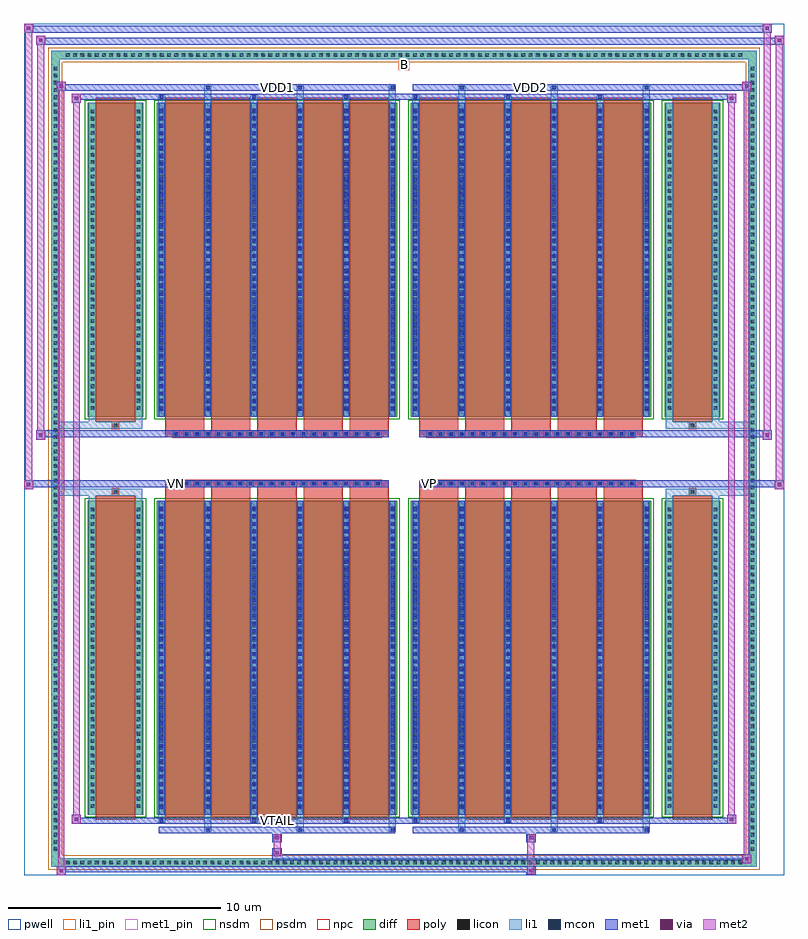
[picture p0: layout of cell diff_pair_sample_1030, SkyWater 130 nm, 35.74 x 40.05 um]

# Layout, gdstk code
import gdstk
lib = gdstk.Library(unit=1e-6, precision=5e-09)
def R(c, l, rs):  # rectangles x0, y0, x1, y1
    for r in rs: c.add(gdstk.rectangle(r[:2], r[2:], *l))
def A(c, l, x, y, w, h, nx, ny, dx, dy):  # array of equal rectangles
    R(c, l, [(x+i*dx, y+j*dy, x+i*dx+w, y+j*dy+h) for i in range(nx) for j in range(ny)])
def P(c, l, *ps):  # polygons
    for p in ps: c.add(gdstk.Polygon(p, *l))
pwell = (64, 44)
diff = (65, 20)
poly = (66, 20)
licon = (66, 44)
li1_pin = (67, 16)
li1 = (67, 20)
mcon = (67, 44)
met1_pin = (68, 16)
met1 = (68, 20)
via = (68, 44)
met2 = (69, 20)
nsdm = (93, 44)
psdm = (94, 20)
npc = (95, 20)

diff_pair_sample_1030 = lib.new_cell('diff_pair_sample_1030')
R(diff_pair_sample_1030, pwell, [(-17.87,-19.59,17.87,20.46), (-15.19,-17.78,-0.01,-0.8), (0.01,-17.78,15.19,-0.8), (-15.19,0.8,-0.01,17.78), (0.01,0.8,15.19,17.78)])
A(diff_pair_sample_1030, diff, -16.015, -19.19, 0.41, 0.41, 94, 2, 0.34, 37.97)
A(diff_pair_sample_1030, diff, -16.6, -18.565, 0.41, 0.41, 1, 109, 0, 0.34)
A(diff_pair_sample_1030, diff, 16.19, -18.565, 0.41, 0.41, 1, 109, 0, 0.34)
R(diff_pair_sample_1030, diff, [(-16.015,-19.19,16.015,-18.78), (-16.6,-18.565,-16.19,18.565), (16.19,-18.565,16.6,18.565), (-14.88,-16.735,-12.26,-1.985), (-11.62,-16.735,-0.32,-1.985), (0.32,-16.735,11.62,-1.985), (12.26,-16.735,14.88,-1.985), (-14.88,1.985,-12.26,16.735), (-11.62,1.985,-0.32,16.735), (0.32,1.985,11.62,16.735), (12.26,1.985,14.88,16.735), (-16.015,18.78,16.015,19.19)])
P(diff_pair_sample_1030, diff, [(16.6,19.19),(-16.6,19.19),(-16.6,-18.78),(-16.19,-18.78),(-16.19,18.78),(16.19,18.78),(16.19,-18.78),(-16.19,-18.78),(-16.6,-18.78),(-16.6,-19.19),(16.6,-19.19)])
A(diff_pair_sample_1030, poly, -11.23, -16.985, 1.84, 15.25, 5, 2, 2.17, 18.72)
A(diff_pair_sample_1030, poly, 0.71, -16.985, 1.84, 15.25, 5, 2, 2.17, 18.72)
A(diff_pair_sample_1030, poly, -11.23, -1.735, 1.84, 0.405, 5, 2, 2.17, 3.065)
A(diff_pair_sample_1030, poly, 0.71, -1.735, 1.84, 0.405, 5, 2, 2.17, 3.065)
A(diff_pair_sample_1030, poly, -10.885, -1.33, 0.33, 0.33, 20, 2, 0.5, 2.33)
A(diff_pair_sample_1030, poly, 1.055, -1.33, 0.33, 0.33, 20, 2, 0.5, 2.33)
R(diff_pair_sample_1030, poly, [(-14.49,-16.985,-12.65,-1.735), (12.65,-16.985,14.49,-1.735), (-13.735,-1.735,-13.405,-1.405), (-13.735,-1.735,-13.405,-1.405), (13.405,-1.735,13.735,-1.405), (13.405,-1.735,13.735,-1.405), (-11.23,-1.33,-0.71,-1), (0.71,-1.33,11.23,-1), (-11.23,1,-0.71,1.33), (0.71,1,11.23,1.33), (-13.735,1.405,-13.405,1.735), (-13.735,1.405,-13.405,1.735), (13.405,1.405,13.735,1.735), (13.405,1.405,13.735,1.735), (-14.49,1.735,-12.65,16.985), (12.65,1.735,14.49,16.985)])
A(diff_pair_sample_1030, licon, -15.895, -19.07, 0.17, 0.17, 94, 2, 0.34, 37.97)
A(diff_pair_sample_1030, licon, -16.48, -18.445, 0.17, 0.17, 1, 109, 0, 0.34)
A(diff_pair_sample_1030, licon, 16.31, -18.445, 0.17, 0.17, 1, 109, 0, 0.34)
A(diff_pair_sample_1030, licon, -14.74, -16.415, 0.17, 0.17, 1, 42, 0, 0.34)
A(diff_pair_sample_1030, licon, -12.57, -16.415, 0.17, 0.17, 1, 42, 0, 0.34)
A(diff_pair_sample_1030, licon, -11.48, -16.415, 0.17, 0.17, 6, 42, 2.17, 0.34)
A(diff_pair_sample_1030, licon, 0.46, -16.415, 0.17, 0.17, 6, 42, 2.17, 0.34)
A(diff_pair_sample_1030, licon, 12.4, -16.415, 0.17, 0.17, 1, 42, 0, 0.34)
A(diff_pair_sample_1030, licon, 14.57, -16.415, 0.17, 0.17, 1, 42, 0, 0.34)
A(diff_pair_sample_1030, licon, -10.805, -1.25, 0.17, 0.17, 20, 2, 0.5, 2.33)
A(diff_pair_sample_1030, licon, 1.135, -1.25, 0.17, 0.17, 20, 2, 0.5, 2.33)
A(diff_pair_sample_1030, licon, -14.74, 2.305, 0.17, 0.17, 1, 42, 0, 0.34)
A(diff_pair_sample_1030, licon, -12.57, 2.305, 0.17, 0.17, 1, 42, 0, 0.34)
A(diff_pair_sample_1030, licon, -11.48, 2.305, 0.17, 0.17, 6, 42, 2.17, 0.34)
A(diff_pair_sample_1030, licon, 0.46, 2.305, 0.17, 0.17, 6, 42, 2.17, 0.34)
A(diff_pair_sample_1030, licon, 12.4, 2.305, 0.17, 0.17, 1, 42, 0, 0.34)
A(diff_pair_sample_1030, licon, 14.57, 2.305, 0.17, 0.17, 1, 42, 0, 0.34)
R(diff_pair_sample_1030, licon, [(-13.655,-1.655,-13.485,-1.485), (13.485,-1.655,13.655,-1.485), (-13.655,1.485,-13.485,1.655), (13.485,1.485,13.655,1.655)])
R(diff_pair_sample_1030, li1_pin, [(-0.25,18.28,0.25,18.78)])
A(diff_pair_sample_1030, li1, -15.975, -19.15, 0.33, 0.33, 94, 2, 0.34, 37.97)
A(diff_pair_sample_1030, li1, -16.56, -18.525, 0.33, 0.33, 1, 109, 0, 0.34)
A(diff_pair_sample_1030, li1, 16.23, -18.525, 0.33, 0.33, 1, 109, 0, 0.34)
A(diff_pair_sample_1030, li1, -9.39, -17.54, 0.33, 0.805, 3, 2, 4.34, 34.275)
A(diff_pair_sample_1030, li1, -9.31, -17.54, 0.17, 0.17, 3, 2, 4.34, 34.91)
A(diff_pair_sample_1030, li1, 2.55, -17.54, 0.33, 0.805, 3, 2, 4.34, 34.275)
A(diff_pair_sample_1030, li1, 2.63, -17.54, 0.17, 0.17, 3, 2, 4.34, 34.91)
A(diff_pair_sample_1030, li1, -11.56, -17.11, 0.33, 0.375, 3, 2, 4.34, 33.845)
A(diff_pair_sample_1030, li1, -11.48, -17.11, 0.17, 0.17, 3, 2, 4.34, 34.05)
A(diff_pair_sample_1030, li1, 0.38, -17.11, 0.33, 0.375, 3, 2, 4.34, 33.845)
A(diff_pair_sample_1030, li1, 0.46, -17.11, 0.17, 0.17, 3, 2, 4.34, 34.05)
A(diff_pair_sample_1030, li1, -11.56, -16.735, 0.33, 14.75, 6, 2, 2.17, 18.72)
A(diff_pair_sample_1030, li1, 0.38, -16.735, 0.33, 14.75, 6, 2, 2.17, 18.72)
A(diff_pair_sample_1030, li1, -14.82, -16.495, 0.33, 0.33, 1, 42, 0, 0.34)
A(diff_pair_sample_1030, li1, -12.65, -16.495, 0.33, 0.33, 1, 42, 0, 0.34)
A(diff_pair_sample_1030, li1, -11.56, -16.495, 0.33, 0.33, 6, 42, 2.17, 0.34)
A(diff_pair_sample_1030, li1, 0.38, -16.495, 0.33, 0.33, 6, 42, 2.17, 0.34)
A(diff_pair_sample_1030, li1, 12.32, -16.495, 0.33, 0.33, 1, 42, 0, 0.34)
A(diff_pair_sample_1030, li1, 14.49, -16.495, 0.33, 0.33, 1, 42, 0, 0.34)
A(diff_pair_sample_1030, li1, -11.48, -16.465, 0.17, 0.17, 6, 40, 2.17, 0.36)
A(diff_pair_sample_1030, li1, -11.48, -16.465, 0.17, 14.21, 6, 2, 2.17, 18.72)
A(diff_pair_sample_1030, li1, 0.46, -16.465, 0.17, 0.17, 6, 40, 2.17, 0.36)
A(diff_pair_sample_1030, li1, 0.46, -16.465, 0.17, 14.21, 6, 2, 2.17, 18.72)
A(diff_pair_sample_1030, li1, -10.885, -1.33, 0.33, 0.33, 20, 2, 0.5, 2.33)
A(diff_pair_sample_1030, li1, 1.055, -1.33, 0.33, 0.33, 20, 2, 0.5, 2.33)
A(diff_pair_sample_1030, li1, -14.82, 2.225, 0.33, 0.33, 1, 42, 0, 0.34)
A(diff_pair_sample_1030, li1, -12.65, 2.225, 0.33, 0.33, 1, 42, 0, 0.34)
A(diff_pair_sample_1030, li1, -11.56, 2.225, 0.33, 0.33, 6, 42, 2.17, 0.34)
A(diff_pair_sample_1030, li1, 0.38, 2.225, 0.33, 0.33, 6, 42, 2.17, 0.34)
A(diff_pair_sample_1030, li1, 12.32, 2.225, 0.33, 0.33, 1, 42, 0, 0.34)
A(diff_pair_sample_1030, li1, 14.49, 2.225, 0.33, 0.33, 1, 42, 0, 0.34)
A(diff_pair_sample_1030, li1, -11.48, 2.255, 0.17, 0.17, 6, 40, 2.17, 0.36)
A(diff_pair_sample_1030, li1, 0.46, 2.255, 0.17, 0.17, 6, 40, 2.17, 0.36)
R(diff_pair_sample_1030, li1, [(-16.6,-19.19,-16.19,-18.78), (-16.6,-19.19,-16.19,-18.78), (-16.19,-19.19,16.19,-18.78), (16.19,-19.19,16.6,-18.78), (16.19,-19.19,16.6,-18.78), (-16.6,-18.78,-16.19,18.78), (16.19,-18.78,16.6,18.78), (-14.82,-16.735,-14.49,-1.985), (-12.65,-16.735,-12.32,-1.985), (12.32,-16.735,12.65,-1.985), (14.49,-16.735,14.82,-1.985), (-14.82,-1.985,-14.49,-1.405), (-12.65,-1.985,-12.32,-1.405), (12.32,-1.985,12.65,-1.405), (14.49,-1.985,14.82,-1.405), (-16.6,-1.735,-13.735,-1.405), (-14.82,-1.735,-13.735,-1.405), (-13.735,-1.735,-13.405,-1.405), (-13.405,-1.735,-12.32,-1.405), (12.32,-1.735,13.405,-1.405), (13.405,-1.735,13.735,-1.405), (13.405,-1.735,16.6,-1.405), (13.735,-1.735,14.82,-1.405), (-16.6,1.405,-13.735,1.735), (-14.82,1.405,-13.735,1.735), (-14.82,1.405,-14.49,1.985), (-13.735,1.405,-13.405,1.735), (-13.405,1.405,-12.32,1.735), (-12.65,1.405,-12.32,1.985), (12.32,1.405,13.405,1.735), (12.32,1.405,12.65,1.985), (13.405,1.405,13.735,1.735), (13.405,1.405,16.6,1.735), (13.735,1.405,14.82,1.735), (14.49,1.405,14.82,1.985), (-14.82,1.985,-14.49,16.735), (-12.65,1.985,-12.32,16.735), (12.32,1.985,12.65,16.735), (14.49,1.985,14.82,16.735), (-16.6,18.78,-16.19,19.19), (-16.6,18.78,-16.19,19.19), (-16.19,18.78,16.19,19.19), (16.19,18.78,16.6,19.19), (16.19,18.78,16.6,19.19)])
A(diff_pair_sample_1030, mcon, -9.31, -17.54, 0.17, 0.17, 3, 2, 4.34, 34.91)
A(diff_pair_sample_1030, mcon, 2.63, -17.54, 0.17, 0.17, 3, 2, 4.34, 34.91)
A(diff_pair_sample_1030, mcon, -11.48, -17.11, 0.17, 0.17, 3, 2, 4.34, 34.05)
A(diff_pair_sample_1030, mcon, 0.46, -17.11, 0.17, 0.17, 3, 2, 4.34, 34.05)
A(diff_pair_sample_1030, mcon, -11.48, -16.465, 0.17, 0.17, 6, 40, 2.17, 0.36)
A(diff_pair_sample_1030, mcon, 0.46, -16.465, 0.17, 0.17, 6, 40, 2.17, 0.36)
A(diff_pair_sample_1030, mcon, -10.805, -1.25, 0.17, 0.17, 20, 2, 0.5, 2.33)
A(diff_pair_sample_1030, mcon, 1.135, -1.25, 0.17, 0.17, 20, 2, 0.5, 2.33)
A(diff_pair_sample_1030, mcon, -11.48, 2.255, 0.17, 0.17, 6, 40, 2.17, 0.36)
A(diff_pair_sample_1030, mcon, 0.46, 2.255, 0.17, 0.17, 6, 40, 2.17, 0.36)
R(diff_pair_sample_1030, met1_pin, [(-6.105,-17.15,-5.835,-16.88), (-10.855,-1.29,-10.585,-1.02), (1.085,-1.29,1.355,-1.02), (-6.105,17.33,-5.835,17.6), (5.835,17.33,6.105,17.6)])
A(diff_pair_sample_1030, met1, -9.37, -17.6, 0.29, 0.29, 3, 2, 4.34, 34.91)
A(diff_pair_sample_1030, met1, 2.57, -17.6, 0.29, 0.29, 3, 2, 4.34, 34.91)
A(diff_pair_sample_1030, met1, -11.54, -17.17, 0.29, 0.29, 3, 2, 4.34, 34.05)
A(diff_pair_sample_1030, met1, 0.4, -17.17, 0.29, 0.29, 3, 2, 4.34, 34.05)
A(diff_pair_sample_1030, met1, -11.54, -16.735, 0.29, 14.75, 6, 2, 2.17, 18.72)
A(diff_pair_sample_1030, met1, 0.4, -16.735, 0.29, 14.75, 6, 2, 2.17, 18.72)
A(diff_pair_sample_1030, met1, -11.54, -16.525, 0.29, 0.29, 6, 40, 2.17, 0.36)
A(diff_pair_sample_1030, met1, 0.4, -16.525, 0.29, 0.29, 6, 40, 2.17, 0.36)
A(diff_pair_sample_1030, met1, -10.865, -1.31, 0.29, 0.29, 20, 2, 0.5, 2.33)
A(diff_pair_sample_1030, met1, 1.075, -1.31, 0.29, 0.29, 20, 2, 0.5, 2.33)
A(diff_pair_sample_1030, met1, -11.54, 2.195, 0.29, 0.29, 6, 40, 2.17, 0.36)
A(diff_pair_sample_1030, met1, 0.4, 2.195, 0.29, 0.29, 6, 40, 2.17, 0.36)
R(diff_pair_sample_1030, met1, [(-16.33,-19.59,-15.9,-19.16), (5.755,-19.59,6.185,-19.16), (-16.33,-19.45,6.185,-19.16), (15.9,-19.02,16.33,-18.59), (-6.185,-18.88,16.33,-18.59), (-6.185,-18.74,-5.755,-18.31), (-6.185,-18.03,-5.755,-17.6), (5.755,-18.03,6.185,-17.6), (-11.54,-17.6,-0.4,-17.31), (0.4,-17.6,11.54,-17.31), (-15.62,-17.17,-15.19,-16.74), (-15.62,-17.17,-11.54,-16.88), (-11.54,-17.17,-0.4,-16.88), (-0.4,-17.17,0.4,-16.88), (0.4,-17.17,11.54,-16.88), (11.54,-17.17,15.62,-16.88), (15.19,-17.17,15.62,-16.74), (-17.87,-1.43,-17.44,-1), (17.44,-1.43,17.87,-1), (-17.87,-1.33,-0.71,-1), (-11.23,-1.33,-0.71,-1), (0.71,-1.33,11.23,-1), (0.71,-1.33,17.87,-1), (-17.3,0.9,-16.87,1.33), (16.87,0.9,17.3,1.33), (-17.3,1,-11.23,1.33), (-11.23,1,-0.71,1.33), (0.71,1,11.23,1.33), (11.23,1,17.3,1.33), (-15.62,16.74,-15.19,17.17), (15.19,16.74,15.62,17.17), (-15.62,16.88,-11.54,17.17), (-11.54,16.88,-0.4,17.17), (-0.4,16.88,0.4,17.17), (0.4,16.88,11.54,17.17), (11.54,16.88,15.62,17.17), (-16.33,17.31,-15.9,17.74), (-16.33,17.31,-11.54,17.6), (-11.54,17.31,-0.4,17.6), (0.4,17.31,11.54,17.6), (11.54,17.31,16.33,17.6), (15.9,17.31,16.33,17.74), (-17.3,19.46,-16.87,19.89), (-17.3,19.46,-15.19,19.79), (-15.19,19.46,15.19,19.79), (15.19,19.46,17.87,19.79), (17.44,19.46,17.87,19.89), (-17.87,20.03,-17.44,20.46), (-17.87,20.03,-15.19,20.36), (-15.19,20.03,15.19,20.36), (15.19,20.03,17.3,20.36), (16.87,20.03,17.3,20.46)])
R(diff_pair_sample_1030, via, [(-16.19,-19.45,-16.04,-19.3), (5.895,-19.45,6.045,-19.3), (16.04,-18.88,16.19,-18.73), (-6.045,-18.6,-5.895,-18.45), (-6.045,-17.89,-5.895,-17.74), (5.895,-17.89,6.045,-17.74), (-15.48,-17.03,-15.33,-16.88), (15.33,-17.03,15.48,-16.88), (-17.73,-1.29,-17.58,-1.14), (17.58,-1.29,17.73,-1.14), (-17.16,1.04,-17.01,1.19), (17.01,1.04,17.16,1.19), (-15.48,16.88,-15.33,17.03), (15.33,16.88,15.48,17.03), (-16.19,17.45,-16.04,17.6), (16.04,17.45,16.19,17.6), (-17.16,19.6,-17.01,19.75), (17.58,19.6,17.73,19.75), (-17.73,20.17,-17.58,20.32), (17.01,20.17,17.16,20.32)])
R(diff_pair_sample_1030, met2, [(-16.33,-19.59,-15.9,-19.16), (-16.26,-19.59,-15.97,17.74), (-15.97,-19.59,-15.9,-19.16), (-16.28,-19.54,-15.95,-19.21), (5.805,-19.54,6.135,-19.21), (5.805,-19.21,6.135,-17.98), (15.9,-19.02,16.33,-18.59), (15.97,-19.02,16.26,17.74), (16.26,-19.02,16.33,-18.59), (15.95,-18.97,16.28,-18.64), (-6.135,-18.69,-5.805,-18.36), (-6.135,-18.36,-5.805,-17.98), (-6.135,-17.98,-5.805,-17.65), (5.805,-17.98,6.135,-17.65), (-15.62,-17.17,-15.19,-16.74), (-15.55,-17.17,-15.26,17.17), (-15.26,-17.17,-15.19,-16.74), (15.19,-17.17,15.62,-16.74), (15.26,-17.17,15.55,17.17), (15.55,-17.17,15.62,-16.74), (-15.57,-17.12,-15.24,-16.79), (15.24,-17.12,15.57,-16.79), (-17.87,-1.43,-17.44,-1), (-17.82,-1.43,-17.49,20.46), (-17.49,-1.43,-17.44,-1), (17.44,-1.43,17.87,-1), (17.49,-1.43,17.82,19.89), (17.82,-1.43,17.87,-1), (-17.82,-1.38,-17.49,-1.05), (17.49,-1.38,17.82,-1.05), (-17.3,0.9,-16.87,1.33), (-17.25,0.9,-16.92,19.89), (-16.92,0.9,-16.87,1.33), (16.87,0.9,17.3,1.33), (16.92,0.9,17.25,20.46), (17.25,0.9,17.3,1.33), (-17.25,0.95,-16.92,1.28), (16.92,0.95,17.25,1.28), (-15.62,16.74,-15.19,17.17), (-15.26,16.74,-15.19,17.17), (15.19,16.74,15.62,17.17), (15.55,16.74,15.62,17.17), (-15.57,16.79,-15.24,17.12), (15.24,16.79,15.57,17.12), (-16.33,17.31,-15.9,17.74), (-15.97,17.31,-15.9,17.74), (15.9,17.31,16.33,17.74), (16.26,17.31,16.33,17.74), (-16.28,17.36,-15.95,17.69), (15.95,17.36,16.28,17.69), (-17.3,19.46,-16.87,19.89), (-16.92,19.46,-16.87,19.89), (17.44,19.46,17.87,19.89), (17.82,19.46,17.87,19.89), (-17.25,19.51,-16.92,19.84), (17.49,19.51,17.82,19.84), (-17.87,20.03,-17.44,20.46), (-17.49,20.03,-17.44,20.46), (16.87,20.03,17.3,20.46), (17.25,20.03,17.3,20.46), (-17.82,20.08,-17.49,20.41), (16.92,20.08,17.25,20.41)])
R(diff_pair_sample_1030, nsdm, [(-15.01,-16.865,-12.13,-1.855), (-11.75,-16.865,-0.19,-1.855), (0.19,-16.865,11.75,-1.855), (12.13,-16.865,15.01,-1.855), (-15.01,1.855,-12.13,16.865), (-11.75,1.855,-0.19,16.865), (0.19,1.855,11.75,16.865), (12.13,1.855,15.01,16.865)])
P(diff_pair_sample_1030, psdm, [(16.73,19.32),(-16.73,19.32),(-16.73,-18.65),(-16.06,-18.65),(-16.06,18.65),(16.06,18.65),(16.06,-18.65),(-16.06,-18.65),(-16.73,-18.65),(-16.73,-19.32),(16.73,-19.32)])
A(diff_pair_sample_1030, npc, -10.905, -1.35, 0.37, 0.37, 20, 2, 0.5, 2.33)
A(diff_pair_sample_1030, npc, 1.035, -1.35, 0.37, 0.37, 20, 2, 0.5, 2.33)
R(diff_pair_sample_1030, npc, [(-13.755,-1.755,-13.385,-1.385), (13.385,-1.755,13.755,-1.385), (-10.905,-1.35,-10.035,-0.98), (-10.905,-1.35,-10.035,-0.98), (-10.405,-1.35,-9.535,-0.98), (-10.405,-1.35,-9.535,-0.98), (-9.905,-1.35,-9.035,-0.98), (-9.905,-1.35,-9.035,-0.98), (-9.405,-1.35,-8.535,-0.98), (-9.405,-1.35,-8.535,-0.98), (-8.905,-1.35,-8.035,-0.98), (-8.905,-1.35,-8.035,-0.98), (-8.405,-1.35,-7.535,-0.98), (-8.405,-1.35,-7.535,-0.98), (-7.905,-1.35,-7.035,-0.98), (-7.905,-1.35,-7.035,-0.98), (-7.405,-1.35,-6.535,-0.98), (-7.405,-1.35,-6.535,-0.98), (-6.905,-1.35,-6.035,-0.98), (-6.905,-1.35,-6.035,-0.98), (-6.405,-1.35,-5.535,-0.98), (-6.405,-1.35,-5.535,-0.98), (-5.905,-1.35,-5.035,-0.98), (-5.905,-1.35,-5.035,-0.98), (-5.405,-1.35,-4.535,-0.98), (-5.405,-1.35,-4.535,-0.98), (-4.905,-1.35,-4.035,-0.98), (-4.905,-1.35,-4.035,-0.98), (-4.405,-1.35,-3.535,-0.98), (-4.405,-1.35,-3.535,-0.98), (-3.905,-1.35,-3.035,-0.98), (-3.905,-1.35,-3.035,-0.98), (-3.405,-1.35,-2.535,-0.98), (-3.405,-1.35,-2.535,-0.98), (-2.905,-1.35,-2.035,-0.98), (-2.905,-1.35,-2.035,-0.98), (-2.405,-1.35,-1.535,-0.98), (-2.405,-1.35,-1.535,-0.98), (-1.905,-1.35,-1.035,-0.98), (-1.905,-1.35,-1.035,-0.98), (1.035,-1.35,1.905,-0.98), (1.035,-1.35,1.905,-0.98), (1.535,-1.35,2.405,-0.98), (1.535,-1.35,2.405,-0.98), (2.035,-1.35,2.905,-0.98), (2.035,-1.35,2.905,-0.98), (2.535,-1.35,3.405,-0.98), (2.535,-1.35,3.405,-0.98), (3.035,-1.35,3.905,-0.98), (3.035,-1.35,3.905,-0.98), (3.535,-1.35,4.405,-0.98), (3.535,-1.35,4.405,-0.98), (4.035,-1.35,4.905,-0.98), (4.035,-1.35,4.905,-0.98), (4.535,-1.35,5.405,-0.98), (4.535,-1.35,5.405,-0.98), (5.035,-1.35,5.905,-0.98), (5.035,-1.35,5.905,-0.98), (5.535,-1.35,6.405,-0.98), (5.535,-1.35,6.405,-0.98), (6.035,-1.35,6.905,-0.98), (6.035,-1.35,6.905,-0.98), (6.535,-1.35,7.405,-0.98), (6.535,-1.35,7.405,-0.98), (7.035,-1.35,7.905,-0.98), (7.035,-1.35,7.905,-0.98), (7.535,-1.35,8.405,-0.98), (7.535,-1.35,8.405,-0.98), (8.035,-1.35,8.905,-0.98), (8.035,-1.35,8.905,-0.98), (8.535,-1.35,9.405,-0.98), (8.535,-1.35,9.405,-0.98), (9.035,-1.35,9.905,-0.98), (9.035,-1.35,9.905,-0.98), (9.535,-1.35,10.405,-0.98), (9.535,-1.35,10.405,-0.98), (10.035,-1.35,10.905,-0.98), (10.035,-1.35,10.905,-0.98), (-10.905,0.98,-10.035,1.35), (-10.905,0.98,-10.035,1.35), (-10.405,0.98,-9.535,1.35), (-10.405,0.98,-9.535,1.35), (-9.905,0.98,-9.035,1.35), (-9.905,0.98,-9.035,1.35), (-9.405,0.98,-8.535,1.35), (-9.405,0.98,-8.535,1.35), (-8.905,0.98,-8.035,1.35), (-8.905,0.98,-8.035,1.35), (-8.405,0.98,-7.535,1.35), (-8.405,0.98,-7.535,1.35), (-7.905,0.98,-7.035,1.35), (-7.905,0.98,-7.035,1.35), (-7.405,0.98,-6.535,1.35), (-7.405,0.98,-6.535,1.35), (-6.905,0.98,-6.035,1.35), (-6.905,0.98,-6.035,1.35), (-6.405,0.98,-5.535,1.35), (-6.405,0.98,-5.535,1.35), (-5.905,0.98,-5.035,1.35), (-5.905,0.98,-5.035,1.35), (-5.405,0.98,-4.535,1.35), (-5.405,0.98,-4.535,1.35), (-4.905,0.98,-4.035,1.35), (-4.905,0.98,-4.035,1.35), (-4.405,0.98,-3.535,1.35), (-4.405,0.98,-3.535,1.35), (-3.905,0.98,-3.035,1.35), (-3.905,0.98,-3.035,1.35), (-3.405,0.98,-2.535,1.35), (-3.405,0.98,-2.535,1.35), (-2.905,0.98,-2.035,1.35), (-2.905,0.98,-2.035,1.35), (-2.405,0.98,-1.535,1.35), (-2.405,0.98,-1.535,1.35), (-1.905,0.98,-1.035,1.35), (-1.905,0.98,-1.035,1.35), (1.035,0.98,1.905,1.35), (1.035,0.98,1.905,1.35), (1.535,0.98,2.405,1.35), (1.535,0.98,2.405,1.35), (2.035,0.98,2.905,1.35), (2.035,0.98,2.905,1.35), (2.535,0.98,3.405,1.35), (2.535,0.98,3.405,1.35), (3.035,0.98,3.905,1.35), (3.035,0.98,3.905,1.35), (3.535,0.98,4.405,1.35), (3.535,0.98,4.405,1.35), (4.035,0.98,4.905,1.35), (4.035,0.98,4.905,1.35), (4.535,0.98,5.405,1.35), (4.535,0.98,5.405,1.35), (5.035,0.98,5.905,1.35), (5.035,0.98,5.905,1.35), (5.535,0.98,6.405,1.35), (5.535,0.98,6.405,1.35), (6.035,0.98,6.905,1.35), (6.035,0.98,6.905,1.35), (6.535,0.98,7.405,1.35), (6.535,0.98,7.405,1.35), (7.035,0.98,7.905,1.35), (7.035,0.98,7.905,1.35), (7.535,0.98,8.405,1.35), (7.535,0.98,8.405,1.35), (8.035,0.98,8.905,1.35), (8.035,0.98,8.905,1.35), (8.535,0.98,9.405,1.35), (8.535,0.98,9.405,1.35), (9.035,0.98,9.905,1.35), (9.035,0.98,9.905,1.35), (9.535,0.98,10.405,1.35), (9.535,0.98,10.405,1.35), (10.035,0.98,10.905,1.35), (10.035,0.98,10.905,1.35), (-13.755,1.385,-13.385,1.755), (13.385,1.385,13.755,1.755)])
diff_pair_sample_1030.add(gdstk.Label('VTAIL', (-5.97,-17.015), layer=68, texttype=5))
diff_pair_sample_1030.add(gdstk.Label('VN', (-10.72,-1.155), layer=68, texttype=5))
diff_pair_sample_1030.add(gdstk.Label('VP', (1.22,-1.155), layer=68, texttype=5))
diff_pair_sample_1030.add(gdstk.Label('B', (0,18.53), layer=67, texttype=5))
diff_pair_sample_1030.add(gdstk.Label('VDD2', (5.97,17.465), layer=68, texttype=5))
diff_pair_sample_1030.add(gdstk.Label('VDD1', (-5.97,17.465), layer=68, texttype=5))

lib.write_gds('diff_pair_sample_1030.gds')
